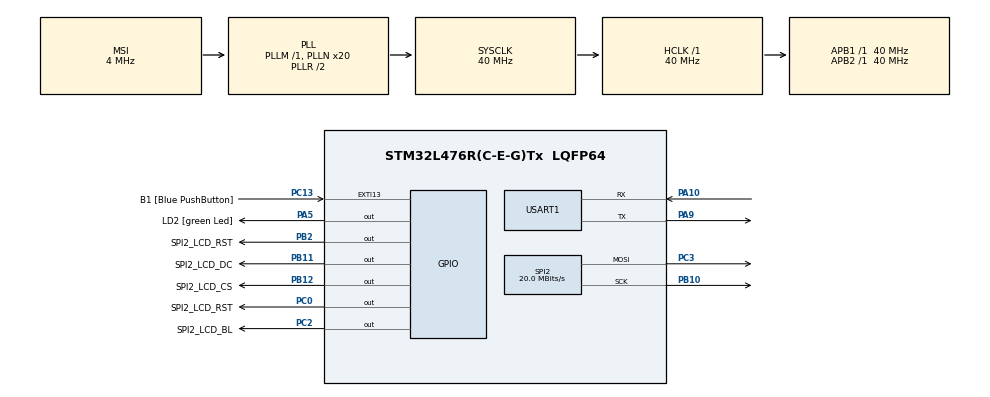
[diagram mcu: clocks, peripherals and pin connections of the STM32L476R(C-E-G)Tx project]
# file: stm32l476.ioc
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Dma.Request0=SPI2_TX
Dma.SPI2_TX.0.Direction=DMA_MEMORY_TO_PERIPH
Dma.SPI2_TX.0.Instance=DMA1_Channel5
Dma.SPI2_TX.0.MemDataAlignment=DMA_MDATAALIGN_BYTE
Dma.SPI2_TX.0.MemInc=DMA_MINC_ENABLE
Dma.SPI2_TX.0.Mode=DMA_NORMAL
Dma.SPI2_TX.0.PeriphDataAlignment=DMA_PDATAALIGN_BYTE
Dma.SPI2_TX.0.PeriphInc=DMA_PINC_DISABLE
Dma.SPI2_TX.0.Priority=DMA_PRIORITY_LOW
FREERTOS.BinarySemaphores01=semBin_menuSnapshot,Static,semBin_menuSnapshotControlBlock,Available
FREERTOS.Queues01=Queue_UART_SendDebug,16,UARTMessage,0,Dynamic,NULL,NULL;Queue_InputAction,16,InputAction_Press,0,Dynamic,NULL,NULL
FREERTOS.Tasks01=TaskN_UARTDebug,24,1024,Task_UART_SendDebug,Default,NULL,Dynamic,NULL,NULL;TaskN_Menu_Repr,8,1024,Task_Menu_Reprint,Default,NULL,Dynamic,NULL,NULL;TaskN_InputComp,8,512,Task_InputCompute,Default,NULL,Dynamic,NULL,NULL;TaskN_SPI_LCD,12,1024,Task_TransmitSPI_LCD,Default,NULL,Dynamic,NULL,NULL
FREERTOS.configTOTAL_HEAP_SIZE=20000
Mcu.Family=STM32L4
Mcu.Name=STM32L476R(C-E-G)Tx
Mcu.Package=LQFP64
NVIC.DMA1_Channel5_IRQn=true\:5\:0\:false\:false\:true\:true\:false\:true\:true
NVIC.PriorityGroup=NVIC_PRIORITYGROUP_4
NVIC.TIM7_IRQn=true\:15\:0\:false\:false\:true\:false\:false\:true\:true
NVIC.TimeBase=TIM7_IRQn
NVIC.TimeBaseIP=TIM7
NVIC.USART1_IRQn=true\:5\:0\:false\:false\:true\:true\:true\:true\:true
PA10.Mode=Asynchronous
PA10.Signal=USART1_RX
PA13\ (JTMS-SWDIO).GPIO_Label=TMS
PA13\ (JTMS-SWDIO).Mode=Serial_Wire
PA13\ (JTMS-SWDIO).Signal=SYS_JTMS-SWDIO
PA14\ (JTCK-SWCLK).GPIO_Label=TCK
PA14\ (JTCK-SWCLK).Mode=Serial_Wire
PA14\ (JTCK-SWCLK).Signal=SYS_JTCK-SWCLK
PA5.GPIO_Label=LD2 [green Led]
PA5.GPIO_ModeDefaultOutputPP=GPIO_MODE_OUTPUT_PP
PA5.GPIO_PuPd=GPIO_NOPULL
PA5.GPIO_Speed=GPIO_SPEED_FREQ_LOW
PA5.Signal=GPIO_Output
PA9.Mode=Asynchronous
PA9.Signal=USART1_TX
PB10.Mode=TX_Only_Simplex_Unidirect_Master
PB10.Signal=SPI2_SCK
PB11.GPIO_Label=SPI2_LCD_DC
PB11.Signal=GPIO_Output
PB12.GPIO_Label=SPI2_LCD_CS
PB12.GPIO_PuPd=GPIO_PULLDOWN
PB12.PinState=GPIO_PIN_SET
PB12.Signal=GPIO_Output
PB2.GPIO_Label=SPI2_LCD_RST
PB2.PinState=GPIO_PIN_SET
PB2.Signal=GPIO_Output
PB3\ (JTDO-TRACESWO).GPIO_Label=SWO
PB3\ (JTDO-TRACESWO).Signal=SYS_JTDO-SWO
PC0.GPIO_Label=SPI2_LCD_RST
PC0.GPIO_PuPd=GPIO_PULLUP
PC0.PinState=GPIO_PIN_SET
PC0.Signal=GPIO_Output
PC13.GPIO_Label=B1 [Blue PushButton]
PC13.GPIO_ModeDefaultEXTI=GPIO_MODE_IT_FALLING
PC13.GPIO_PuPd=GPIO_NOPULL
PC13.Signal=GPXTI13
PC14-OSC32_IN\ (PC14).Signal=RCC_OSC32_IN
PC15-OSC32_OUT\ (PC15).Signal=RCC_OSC32_OUT
PC2.GPIO_Label=SPI2_LCD_BL
PC2.GPIO_PuPd=GPIO_PULLUP
PC2.Signal=GPIO_Output
PC3.Mode=TX_Only_Simplex_Unidirect_Master
PC3.Signal=SPI2_MOSI
PH0-OSC_IN\ (PH0).Signal=RCC_OSC_IN
PH1-OSC_OUT\ (PH1).Signal=RCC_OSC_OUT
ProjectManager.HeapSize=0x200
ProjectManager.StackSize=0x400
ProjectManager.TargetToolchain=CMake
RCC.ADCFreq_Value=16000000
RCC.AHBFreq_Value=40000000
RCC.APB1Freq_Value=40000000
RCC.APB1TimFreq_Value=40000000
RCC.APB2Freq_Value=40000000
RCC.APB2TimFreq_Value=40000000
RCC.CortexFreq_Value=40000000
RCC.HCLKFreq_Value=40000000
RCC.HSE_VALUE=8000000
RCC.HSI_VALUE=16000000
RCC.LSE_VALUE=32768
RCC.MSI_VALUE=4000000
RCC.PLLN=20
RCC.PREFETCH_ENABLE=1
RCC.SYSCLKFreq_VALUE=40000000
RCC.SYSCLKSource=RCC_SYSCLKSOURCE_PLLCLK
RCC.USBFreq_Value=16000000
RCC.VCOOutputFreq_Value=80000000
SPI2.BaudRatePrescaler=SPI_BAUDRATEPRESCALER_2
SPI2.CalculateBaudRate=20.0 MBits/s
SPI2.DataSize=SPI_DATASIZE_8BIT
SPI2.Direction=SPI_DIRECTION_2LINES
SPI2.Mode=SPI_MODE_MASTER
SPI2.VirtualType=VM_MASTER
USART1.VirtualMode-Asynchronous=VM_ASYNC
VP_FREERTOS_VS_CMSIS_V2.Mode=CMSIS_V2
VP_SYS_VS_tim7.Mode=TIM7
board=NUCLEO-L476RG

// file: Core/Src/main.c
/* USER CODE BEGIN Header */
/**
 ******************************************************************************
 * @file           : main.c
 * @brief          : Main program body
 ******************************************************************************
 * @attention
 *
 * Copyright (c) 2026 STMicroelectronics.
 * All rights reserved.
 *
 * This software is licensed under terms that can be found in the LICENSE file
 * in the root directory of this software component.
 * If no LICENSE file comes with this software, it is provided AS-IS.
 *
 ******************************************************************************
 */
/* USER CODE END Header */
#include "main.h"
#include "cmsis_os.h"
#include "dma.h"
#include "spi.h"
#include "usart.h"
#include "gpio.h"

/* USER CODE BEGIN Includes */
#include "lcd_ILI9488.h"

/* USER CODE END Includes */

/* USER CODE BEGIN PD */

/* USER CODE END PTD */

/* Private define ------------------------------------------------------------*/
/* USER CODE BEGIN PD */

/* USER CODE END PD */

void SystemClock_Config(void);
void MX_FREERTOS_Init(void);

/* USER CODE BEGIN 0 */
void _reset_blinkingShow() {
    HAL_GPIO_WritePin(LD2_GPIO_Port, LD2_Pin, GPIO_PIN_RESET);
    for (int i = 0; i < 10; i++) {
        HAL_GPIO_TogglePin(LD2_GPIO_Port, LD2_Pin);
        HAL_Delay(200);
    }
    HAL_GPIO_WritePin(LD2_GPIO_Port, LD2_Pin, GPIO_PIN_RESET);
}

/* USER CODE END 0 */

int main(void)
{

  /* MCU Configuration--------------------------------------------------------*/

  /* Reset of all peripherals, Initializes the Flash interface and the Systick. */
  HAL_Init();

  /* Configure the system clock */
  SystemClock_Config();

  /* Initialize all configured peripherals */
  MX_GPIO_Init();
  MX_DMA_Init();
  MX_USART1_UART_Init();
  MX_SPI2_Init();
  /* USER CODE BEGIN 2 */

    _reset_blinkingShow();
    HAL_UART_Receive_IT(&huart1, &RxBuffer_USART1, 1);
    _lcd_initialize();

  /* USER CODE END 2 */

  /* Init scheduler */
  osKernelInitialize();  /* Call init function for freertos objects (in cmsis_os2.c) */
  MX_FREERTOS_Init();

  /* Start scheduler */
  osKernelStart();

  /* We should never get here as control is now taken by the scheduler */

  /* Infinite loop */
    while (1) {

    }
}

void SystemClock_Config(void)
{
  RCC_OscInitTypeDef RCC_OscInitStruct = {0};
  RCC_ClkInitTypeDef RCC_ClkInitStruct = {0};

  /** Configure the main internal regulator output voltage
  */
  if (HAL_PWREx_ControlVoltageScaling(PWR_REGULATOR_VOLTAGE_SCALE1) != HAL_OK)
  {
    Error_Handler();
  }

  /** Initializes the RCC Oscillators according to the specified parameters
  * in the RCC_OscInitTypeDef structure.
  */
  RCC_OscInitStruct.OscillatorType = RCC_OSCILLATORTYPE_MSI;
  RCC_OscInitStruct.MSIState = RCC_MSI_ON;
  RCC_OscInitStruct.MSICalibrationValue = 0;
  RCC_OscInitStruct.MSIClockRange = RCC_MSIRANGE_6;
  RCC_OscInitStruct.PLL.PLLState = RCC_PLL_ON;
  RCC_OscInitStruct.PLL.PLLSource = RCC_PLLSOURCE_MSI;
  RCC_OscInitStruct.PLL.PLLM = 1;
  RCC_OscInitStruct.PLL.PLLN = 20;
  RCC_OscInitStruct.PLL.PLLP = RCC_PLLP_DIV7;
  RCC_OscInitStruct.PLL.PLLQ = RCC_PLLQ_DIV2;
  RCC_OscInitStruct.PLL.PLLR = RCC_PLLR_DIV2;
  if (HAL_RCC_OscConfig(&RCC_OscInitStruct) != HAL_OK)
  {
    Error_Handler();
  }

  /** Initializes the CPU, AHB and APB buses clocks
  */
  RCC_ClkInitStruct.ClockType = RCC_CLOCKTYPE_HCLK|RCC_CLOCKTYPE_SYSCLK
                              |RCC_CLOCKTYPE_PCLK1|RCC_CLOCKTYPE_PCLK2;
  RCC_ClkInitStruct.SYSCLKSource = RCC_SYSCLKSOURCE_PLLCLK;
  RCC_ClkInitStruct.AHBCLKDivider = RCC_SYSCLK_DIV1;
  RCC_ClkInitStruct.APB1CLKDivider = RCC_HCLK_DIV1;
  RCC_ClkInitStruct.APB2CLKDivider = RCC_HCLK_DIV1;

  if (HAL_RCC_ClockConfig(&RCC_ClkInitStruct, FLASH_LATENCY_2) != HAL_OK)
  {
    Error_Handler();
  }
}

void HAL_TIM_PeriodElapsedCallback(TIM_HandleTypeDef *htim)
{
  if (htim->Instance == TIM7)
  {
    HAL_IncTick();
  }
}

void Error_Handler(void)
{
    __disable_irq();
    while (1) {
    }
}

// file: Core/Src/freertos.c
/* USER CODE BEGIN Header */
/**
 ******************************************************************************
 * File Name          : freertos.c
 * Description        : Code for freertos applications
 ******************************************************************************
 * @attention
 *
 * Copyright (c) 2026 STMicroelectronics.
 * All rights reserved.
 *
 * This software is licensed under terms that can be found in the LICENSE file
 * in the root directory of this software component.
 * If no LICENSE file comes with this software, it is provided AS-IS.
 *
 ******************************************************************************
 */
/* USER CODE END Header */

#include "FreeRTOS.h"
#include "task.h"
#include "main.h"
#include "cmsis_os.h"

/* USER CODE BEGIN Includes */
#include "freertos_header.h"
#include "input.h"
#include "main_Robot.h"
#include "thread_settings_stm32l4.h"
#include "lcd_ILI9488.h"
#include "usart.h"
#include <stdio.h>
#include <string.h>

/* USER CODE END Includes */

typedef StaticSemaphore_t osStaticSemaphoreDef_t;

/* Definitions for TaskN_UARTDebug */
osThreadId_t TaskN_UARTDebugHandle;
const osThreadAttr_t TaskN_UARTDebug_attributes = {
  .name = "TaskN_UARTDebug",
  .stack_size = 1024 * 4,
  .priority = (osPriority_t) osPriorityNormal,
};
/* Definitions for TaskN_Menu_Repr */
osThreadId_t TaskN_Menu_ReprHandle;
const osThreadAttr_t TaskN_Menu_Repr_attributes = {
  .name = "TaskN_Menu_Repr",
  .stack_size = 1024 * 4,
  .priority = (osPriority_t) osPriorityLow,
};
/* Definitions for TaskN_InputComp */
osThreadId_t TaskN_InputCompHandle;
const osThreadAttr_t TaskN_InputComp_attributes = {
  .name = "TaskN_InputComp",
  .stack_size = 512 * 4,
  .priority = (osPriority_t) osPriorityLow,
};
/* Definitions for TaskN_SPI_LCD */
osThreadId_t TaskN_SPI_LCDHandle;
const osThreadAttr_t TaskN_SPI_LCD_attributes = {
  .name = "TaskN_SPI_LCD",
  .stack_size = 1024 * 4,
  .priority = (osPriority_t) osPriorityLow4,
};
/* Definitions for Queue_UART_SendDebug */
osMessageQueueId_t Queue_UART_SendDebugHandle;
const osMessageQueueAttr_t Queue_UART_SendDebug_attributes = {
  .name = "Queue_UART_SendDebug"
};
/* Definitions for Queue_InputAction */
osMessageQueueId_t Queue_InputActionHandle;
const osMessageQueueAttr_t Queue_InputAction_attributes = {
  .name = "Queue_InputAction"
};
/* Definitions for semBin_menuSnapshot */
osSemaphoreId_t semBin_menuSnapshotHandle;
osStaticSemaphoreDef_t semBin_menuSnapshotControlBlock;
const osSemaphoreAttr_t semBin_menuSnapshot_attributes = {
  .name = "semBin_menuSnapshot",
  .cb_mem = &semBin_menuSnapshotControlBlock,
  .cb_size = sizeof(semBin_menuSnapshotControlBlock),
};

void Task_UART_SendDebug(void *argument);
void Task_Menu_Reprint(void *argument);
void Task_InputCompute(void *argument);
void Task_TransmitSPI_LCD(void *argument);

void MX_FREERTOS_Init(void); /* (MISRA C 2004 rule 8.1) */

void MX_FREERTOS_Init(void) {

  /* Create the semaphores(s) */
  /* creation of semBin_menuSnapshot */
  semBin_menuSnapshotHandle = osSemaphoreNew(1, 1, &semBin_menuSnapshot_attributes);

  /* Create the queue(s) */
  /* creation of Queue_UART_SendDebug */
  Queue_UART_SendDebugHandle = osMessageQueueNew (16, sizeof(UARTMessage), &Queue_UART_SendDebug_attributes);

  /* creation of Queue_InputAction */
  Queue_InputActionHandle = osMessageQueueNew (16, sizeof(InputAction_Press), &Queue_InputAction_attributes);

  /* Create the thread(s) */
  /* creation of TaskN_UARTDebug */
  TaskN_UARTDebugHandle = osThreadNew(Task_UART_SendDebug, NULL, &TaskN_UARTDebug_attributes);

  /* creation of TaskN_Menu_Repr */
  TaskN_Menu_ReprHandle = osThreadNew(Task_Menu_Reprint, NULL, &TaskN_Menu_Repr_attributes);

  /* creation of TaskN_InputComp */
  TaskN_InputCompHandle = osThreadNew(Task_InputCompute, NULL, &TaskN_InputComp_attributes);

  /* creation of TaskN_SPI_LCD */
  TaskN_SPI_LCDHandle = osThreadNew(Task_TransmitSPI_LCD, NULL, &TaskN_SPI_LCD_attributes);

  /* USER CODE BEGIN RTOS_EVENTS */
    /* add events, ... */

    main_Robot();
  /* USER CODE END RTOS_EVENTS */

}

void Task_UART_SendDebug(void *argument)
{
  /* USER CODE BEGIN Task_UART_SendDebug */
    UARTMessage msg;
    /* Infinite loop */
    for (;;) {
        osStatus_t status = osMessageQueueGet(Queue_UART_SendDebugHandle, msg, 0, osWaitForever);
        if (status == osOK) {
            size_t size = strlen(msg);
            HAL_UART_Transmit(&huart1, (uint8_t *)msg, strlen(msg), HAL_MAX_DELAY);
        } else {
            const char message[] = "Error \r\n";
            HAL_UART_Transmit(&huart1, (uint8_t *)message, strlen(message), HAL_MAX_DELAY);
        }
    }
  /* USER CODE END Task_UART_SendDebug */
}

void Task_Menu_Reprint(void *argument)
{
  /* USER CODE BEGIN Task_Menu_Reprint */
    /* Infinite loop */
    for (;;) {
        if (_currentMenu == NULL) {
            // ---------- Screen saver/wallpaper ----------
            // system("clear");
            // printf("Screensaver/wallpaper here\n");
            // fflush(stdout);

            osDelay(SLEEP_MS_MENU_REPRINT);
            continue;
        }
        if (!_currentMenu->reprintRequested) {
            osDelay(SLEEP_MS_MENU_REPRINT);
            continue;
        }

        menu_show_reprint(_mainDisplayDrivers->displayDriverArray, _mainDisplayDrivers->driverCount, _currentMenu);
        // time_t now;
        // time(&now);
        // printf("Reprinting requested, %s\n", ctime(&now));
        _currentMenu->reprintRequested = false;

        osDelay(SLEEP_MS_MENU_REPRINT);
        continue;
    }
  /* USER CODE END Task_Menu_Reprint */
}

void Task_InputCompute(void *argument)
{
  /* USER CODE BEGIN Task_InputCompute */
    InputAction_Press pressedAction;
    /* Infinite loop */
    for (;;) {
        osStatus_t status = osMessageQueueGet(Queue_InputActionHandle, &pressedAction, 0, osWaitForever);
        if (status != osOK) {
            continue;
        }
        switch (pressedAction) {
            case InputPress_Down: inputAction_Down(); break;
            case InputPress_Up: inputAction_Up(); break;
            case InputPress_Right: inputAction_Select(); break;
            case InputPress_Left: inputAction_Back(); break;
            case InputPress_Quit: inputAction_Quit(); break;
        }
    }
  /* USER CODE END Task_InputCompute */
}

void Task_TransmitSPI_LCD(void *argument)
{
  /* USER CODE BEGIN Task_TransmitSPI_LCD */
    /* Infinite loop */
    for (;;) {
        if (!lcd_requestedReprint) {
            osDelay(50);
            continue;
        }
        _lcd_drawMenuThroughSPI();
    }
  /* USER CODE END Task_TransmitSPI_LCD */
}
